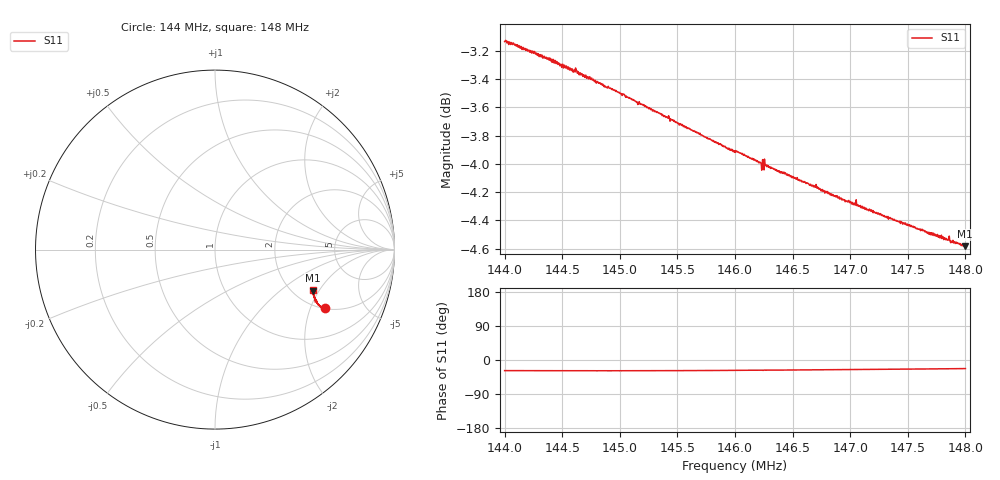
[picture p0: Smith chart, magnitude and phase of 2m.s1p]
! Calibrated averaged scanner-service zoom
# Hz S RI R 50
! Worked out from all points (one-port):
!   1001 points, 144 MHz to 148 MHz, reference 50 ohm
!   lowest |S11| = -4.6 dB at 148 MHz (marker M1), VSWR 3.88, Z = 126 - j87.8 ohm
!   |S11| at or under -10 dB: nowhere
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1.44e8  0.6155 -0.3272
1.44092e8  0.6135 -0.3275
1.445e8  0.6019 -0.3242
1.44636e8  0.5986 -0.3232
1.44736e8  0.5959 -0.3221
1.45e8  0.5885 -0.3176
1.45408e8  0.5782 -0.309
1.455e8  0.5762 -0.3057
1.4594e8  0.5669 -0.2951
1.46e8  0.5657 -0.2927
1.46028e8  0.5666 -0.2913
1.46168e8  0.5639 -0.2877
1.4622e8  0.5633 -0.2858
1.46224e8  0.5632 -0.2858
1.46232e8  0.5601 -0.2835
1.4626e8  0.5622 -0.2848
1.46268e8  0.5621 -0.2846
1.46276e8  0.5618 -0.2841
1.46328e8  0.5625 -0.281
1.465e8  0.5586 -0.2789
1.46708e8  0.5568 -0.2709
1.46828e8  0.5537 -0.268
1.47e8  0.5524 -0.2624
1.4732e8  0.5487 -0.2522
1.475e8  0.5479 -0.2456
1.47676e8  0.5466 -0.2393
1.47996e8  0.5443 -0.228
1.48e8  0.545 -0.2274
